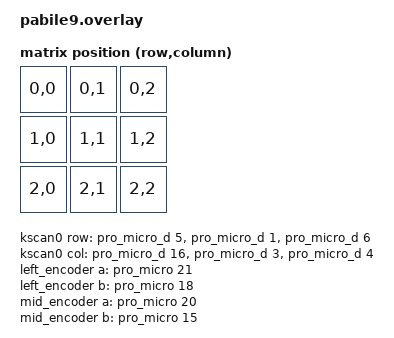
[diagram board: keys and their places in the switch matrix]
/*
 * Copyright (c) 2025 The ZMK Contributors
 *
 * SPDX-License-Identifier: MIT
 */

#include <dt-bindings/zmk/matrix_transform.h>
#include <layouts/pabile/pabile9-layouts.dtsi>

/ {
/*
	chosen {
		zmk,kscan = &kscan0;
		zmk,matrix_transform = &default_transform;
	};
*/
	kscan0: kscan_0 {
		compatible = "zmk,kscan-gpio-matrix";
		label = "KSCAN";
		diode-direction = "col2row";
    
		col-gpios
			= <&pro_micro_d 16 GPIO_ACTIVE_HIGH>
			, <&pro_micro_d 3 GPIO_ACTIVE_HIGH>
			, <&pro_micro_d 4 GPIO_ACTIVE_HIGH>
			;

		row-gpios
			= <&pro_micro_d 5 (GPIO_ACTIVE_HIGH | GPIO_PULL_DOWN)>
			, <&pro_micro_d 1 (GPIO_ACTIVE_HIGH | GPIO_PULL_DOWN)>
			, <&pro_micro_d 6 (GPIO_ACTIVE_HIGH | GPIO_PULL_DOWN)>
			;
	};
	 
    default_transform: keymap_transform_0 {
        compatible = "zmk,matrix-transform";
        columns = <3>;
        rows = <3>;
            // | MX1  |  MX2  |  MX3  |
            // | MX11 |  MX12 |  MX13 |
            // | MX21 |  MX22 |  MX23 |

        map = <
            RC(0,0) RC(0,1) RC(0,2)
            RC(1,0) RC(1,1) RC(1,2)
            RC(2,0) RC(2,1) RC(2,2)
        >;
    };

    left_encoder: encoder_left {
        compatible = "alps,ec11";
        label = "LEFT_ENCODER";
        a-gpios = <&pro_micro 21 (GPIO_ACTIVE_LOW | GPIO_PULL_UP)>;
        b-gpios = <&pro_micro 18 (GPIO_ACTIVE_LOW | GPIO_PULL_UP)>;
        steps = <80>;
        status = "okay";
    };

    mid_encoder: encoder_mid {
        compatible = "alps,ec11";
        label = "MIDDLE_ENCODER";
        a-gpios = <&pro_micro 20 (GPIO_ACTIVE_LOW | GPIO_PULL_UP)>;
        b-gpios = <&pro_micro 15 (GPIO_ACTIVE_LOW | GPIO_PULL_UP)>;
        steps = <80>;
        status = "okay";
    };

    right_encoder: encoder_right {
        compatible = "alps,ec11";
        label = "RIGHT_ENCODER";
        a-gpios = <&pro_micro 19 (GPIO_ACTIVE_LOW | GPIO_PULL_UP)>;
        b-gpios = <&pro_micro 14 (GPIO_ACTIVE_LOW | GPIO_PULL_UP)>;
        steps = <80>;
        status = "okay";
    };

    sensors: sensors {
        compatible = "zmk,keymap-sensors";
        sensors = <&left_encoder &mid_encoder &right_encoder>;
        triggers-per-rotation = <20>;
    };

};

&default_layout {
    transform = <&default_transform>;
};
